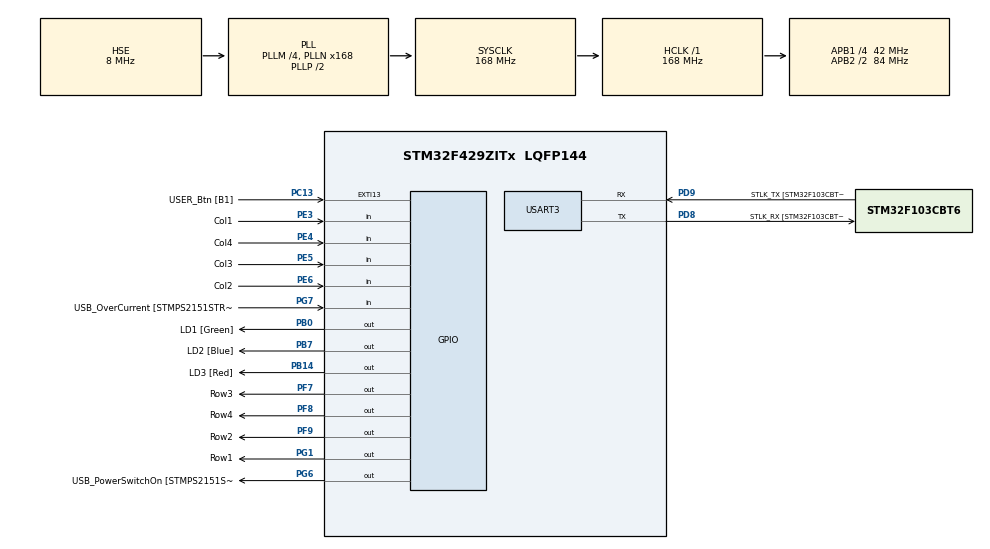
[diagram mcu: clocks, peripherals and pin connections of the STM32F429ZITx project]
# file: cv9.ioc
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Mcu.Family=STM32F4
Mcu.Name=STM32F429ZITx
Mcu.Package=LQFP144
NVIC.PriorityGroup=NVIC_PRIORITYGROUP_4
NVIC.TIM3_IRQn=true\:0\:0\:false\:false\:true\:true\:true
PA1.GPIO_Label=RMII_REF_CLK [LAN8742A-CZ-TR_REFCLK0]
PA1.Signal=ETH_REF_CLK
PA10.GPIO_Label=USB_ID
PA10.Signal=USB_OTG_FS_ID
PA11.GPIO_Label=USB_DM
PA11.Signal=USB_OTG_FS_DM
PA12.GPIO_Label=USB_DP
PA12.Signal=USB_OTG_FS_DP
PA13.GPIO_Label=TMS
PA13.Mode=Serial_Wire
PA13.Signal=SYS_JTMS-SWDIO
PA14.GPIO_Label=TCK
PA14.Mode=Serial_Wire
PA14.Signal=SYS_JTCK-SWCLK
PA2.GPIO_Label=RMII_MDIO [LAN8742A-CZ-TR_MDIO]
PA2.Signal=ETH_MDIO
PA7.GPIO_Label=RMII_CRS_DV [LAN8742A-CZ-TR_CRS_DV]
PA7.Signal=ETH_CRS_DV
PA8.GPIO_Label=USB_SOF [TP1]
PA8.Signal=USB_OTG_FS_SOF
PA9.GPIO_Label=USB_VBUS
PA9.Signal=USB_OTG_FS_VBUS
PB0.GPIO_Label=LD1 [Green]
PB0.Signal=GPIO_Output
PB13.GPIO_Label=RMII_TXD1 [LAN8742A-CZ-TR_TXD1]
PB13.Signal=ETH_TXD1
PB14.GPIO_Label=LD3 [Red]
PB14.Signal=GPIO_Output
PB7.GPIO_Label=LD2 [Blue]
PB7.Signal=GPIO_Output
PC1.GPIO_Label=RMII_MDC [LAN8742A-CZ-TR_MDC]
PC1.Signal=ETH_MDC
PC13.GPIO_Label=USER_Btn [B1]
PC13.Signal=GPXTI13
PC14/OSC32_IN.Mode=LSE-External-Oscillator
PC14/OSC32_IN.Signal=RCC_OSC32_IN
PC15/OSC32_OUT.Mode=LSE-External-Oscillator
PC15/OSC32_OUT.Signal=RCC_OSC32_OUT
PC4.GPIO_Label=RMII_RXD0 [LAN8742A-CZ-TR_RXD0]
PC4.Signal=ETH_RXD0
PC5.GPIO_Label=RMII_RXD1 [LAN8742A-CZ-TR_RXD1]
PC5.Signal=ETH_RXD1
PD8.GPIO_Label=STLK_RX [STM32F103CBT6_PA3]
PD8.Mode=Asynchronous
PD8.Signal=USART3_TX
PD9.GPIO_Label=STLK_TX [STM32F103CBT6_PA2]
PD9.Mode=Asynchronous
PD9.Signal=USART3_RX
PE3.GPIO_Label=Col1
PE3.GPIO_PuPd=GPIO_PULLUP
PE3.Signal=GPIO_Input
PE4.GPIO_Label=Col4
PE4.GPIO_PuPd=GPIO_PULLUP
PE4.Signal=GPIO_Input
PE5.GPIO_Label=Col3
PE5.GPIO_PuPd=GPIO_PULLUP
PE5.Signal=GPIO_Input
PE6.GPIO_Label=Col2
PE6.GPIO_PuPd=GPIO_PULLUP
PE6.Signal=GPIO_Input
PF7.GPIO_Label=Row3
PF7.GPIO_ModeDefaultOutputPP=GPIO_MODE_OUTPUT_OD
PF7.Signal=GPIO_Output
PF8.GPIO_Label=Row4
PF8.GPIO_ModeDefaultOutputPP=GPIO_MODE_OUTPUT_OD
PF8.Signal=GPIO_Output
PF9.GPIO_Label=Row2
PF9.GPIO_ModeDefaultOutputPP=GPIO_MODE_OUTPUT_OD
PF9.Signal=GPIO_Output
PG1.GPIO_Label=Row1
PG1.GPIO_ModeDefaultOutputPP=GPIO_MODE_OUTPUT_OD
PG1.Signal=GPIO_Output
PG11.GPIO_Label=RMII_TX_EN [LAN8742A-CZ-TR_TXEN]
PG11.Signal=ETH_TX_EN
PG13.GPIO_Label=RMII_TXD0 [LAN8742A-CZ-TR_TXD0]
PG13.Signal=ETH_TXD0
PG6.GPIO_Label=USB_PowerSwitchOn [STMPS2151STR_EN]
PG6.Signal=GPIO_Output
PG7.GPIO_Label=USB_OverCurrent [STMPS2151STR_FAULT]
PG7.Signal=GPIO_Input
PH0/OSC_IN.GPIO_Label=MCO [STM32F103CBT6_PA8]
PH0/OSC_IN.Mode=HSE-External-Clock-Source
PH0/OSC_IN.Signal=RCC_OSC_IN
PH1/OSC_OUT.Mode=HSE-External-Clock-Source
PH1/OSC_OUT.Signal=RCC_OSC_OUT
ProjectManager.HeapSize=0x200
ProjectManager.StackSize=0x400
ProjectManager.TargetToolchain=STM32CubeIDE
RCC.48MHZClocksFreq_Value=48000000
RCC.AHBFreq_Value=168000000
RCC.APB1CLKDivider=RCC_HCLK_DIV4
RCC.APB1Freq_Value=42000000
RCC.APB1TimFreq_Value=84000000
RCC.APB2CLKDivider=RCC_HCLK_DIV2
RCC.APB2Freq_Value=84000000
RCC.APB2TimCLKDivider=2
RCC.APB2TimFreq_Value=168000000
RCC.CortexFreq_Value=168000000
RCC.HCLKFreq_Value=168000000
RCC.HSE_VALUE=8000000
RCC.HSI_VALUE=16000000
RCC.PLLM=4
RCC.PLLMUL=RCC_PLL_MUL9
RCC.PLLN=168
RCC.PLLQ=7
RCC.PLLSourceVirtual=RCC_PLLSOURCE_HSE
RCC.PRESCALERUSB=RCC_USBCLKSOURCE_PLL_DIV1_5
RCC.SYSCLKFreq_VALUE=168000000
RCC.SYSCLKSource=RCC_SYSCLKSOURCE_PLLCLK
RCC.SYSCLKSourceVirtual=RCC_SYSCLKSOURCE_PLLCLK
RCC.USBFreq_Value=48000000
RCC.VCOOutputFreq_Value=336000000
TIM3.AutoReloadPreload=TIM_AUTORELOAD_PRELOAD_ENABLE
TIM3.Period=99
TIM3.Prescaler=8399
USART3.VirtualMode=VM_ASYNC
VP_TIM3_VS_ClockSourceINT.Mode=Internal
board=NUCLEO-F429ZI

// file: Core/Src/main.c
/* USER CODE BEGIN Header */
/**
 ******************************************************************************
 * @file           : main.c
 * @brief          : Main program body
 ******************************************************************************
 * @attention
 *
 * <h2><center>&copy; Copyright (c) 2021 STMicroelectronics.
 * All rights reserved.</center></h2>
 *
 * This software component is licensed by ST under BSD 3-Clause license,
 * the "License"; You may not use this file except in compliance with the
 * License. You may obtain a copy of the License at:
 *                        opensource.org/licenses/BSD-3-Clause
 *
 ******************************************************************************
 */
/* USER CODE END Header */
#include "main.h"

/* USER CODE BEGIN Includes */
#include <stdio.h>

/* USER CODE END Includes */

TIM_HandleTypeDef htim3;

UART_HandleTypeDef huart3;

/* USER CODE BEGIN PV */
static volatile int8_t key;
const int code[5] = { 7, 9, 3, 2, 12 };
/* USER CODE END PV */

void SystemClock_Config(void);
static void MX_GPIO_Init(void);
static void MX_USART3_UART_Init(void);
static void MX_TIM3_Init(void);
/* USER CODE BEGIN PFP */
void HAL_TIM_PeriodElapsedCallback(TIM_HandleTypeDef *htim)
{
	static int row = 0;
	static const int keyboard[4][4] = {
			{ 1, 2, 3, 21 },
			{ 4, 5, 6, 22 },
			{ 7, 8, 9, 23 },
			{ 11, 0, 12, 24 },
	};
	if (key == -1) {
		if (HAL_GPIO_ReadPin(Col1_GPIO_Port, Col1_Pin) == GPIO_PIN_RESET) key = keyboard[row][0];
		if (HAL_GPIO_ReadPin(Col2_GPIO_Port, Col2_Pin) == GPIO_PIN_RESET) key = keyboard[row][1];
		if (HAL_GPIO_ReadPin(Col3_GPIO_Port, Col3_Pin) == GPIO_PIN_RESET) key = keyboard[row][2];
		if (HAL_GPIO_ReadPin(Col4_GPIO_Port, Col4_Pin) == GPIO_PIN_RESET) key = keyboard[row][3];
	}
	HAL_GPIO_WritePin(Row1_GPIO_Port, Row1_Pin, GPIO_PIN_SET);
	HAL_GPIO_WritePin(Row2_GPIO_Port, Row2_Pin, GPIO_PIN_SET);
	HAL_GPIO_WritePin(Row3_GPIO_Port, Row3_Pin, GPIO_PIN_SET);
	HAL_GPIO_WritePin(Row4_GPIO_Port, Row4_Pin, GPIO_PIN_SET);
	switch (row) {
	case 0: row = 1; HAL_GPIO_WritePin(Row2_GPIO_Port, Row2_Pin, GPIO_PIN_RESET); break;
	case 1: row = 2; HAL_GPIO_WritePin(Row3_GPIO_Port, Row3_Pin, GPIO_PIN_RESET); break;
	case 2: row = 3; HAL_GPIO_WritePin(Row4_GPIO_Port, Row4_Pin, GPIO_PIN_RESET); break;
	case 3: row = 0; HAL_GPIO_WritePin(Row1_GPIO_Port, Row1_Pin, GPIO_PIN_RESET); break;
	}
}

/* USER CODE END PFP */

/* USER CODE BEGIN 0 */
int __io_putchar(int ch)
{
	ITM_SendChar(ch);
	return 0;
}

/* USER CODE END 0 */

int main(void)
{

	/* MCU Configuration--------------------------------------------------------*/

	/* Reset of all peripherals, Initializes the Flash interface and the Systick. */
	HAL_Init();

	/* Configure the system clock */
	SystemClock_Config();

	/* Initialize all configured peripherals */
	MX_GPIO_Init();
	MX_USART3_UART_Init();
	MX_TIM3_Init();
	/* USER CODE BEGIN 2 */
	HAL_Delay(1000);
	printf("Start...\n");
	HAL_TIM_Base_Start_IT(&htim3);

	/* USER CODE END 2 */

	/* Infinite loop */
	while (1)
	{

		/* USER CODE BEGIN 3 */
		static int8_t codeIndex = 0;
		static uint32_t TimeOut = 0;

		if(HAL_GetTick() > TimeOut + 3000){
			HAL_GPIO_WritePin(LD1_GPIO_Port, LD1_Pin, GPIO_PIN_RESET);
			printf("TimeOut... \n");
			TimeOut = HAL_GetTick();
			codeIndex = 0;
		}

		if (key != -1){
			printf("%d \n", key);
			TimeOut = HAL_GetTick();
			if (key == code[codeIndex]){
				codeIndex++;
				if(codeIndex > 4){
					printf("Unlocked... \n");
					HAL_GPIO_WritePin(LD1_GPIO_Port, LD1_Pin, GPIO_PIN_SET);
				}
			}else if (key == 24){
				printf("Code deleted!!! \n");
				codeIndex = 0;
			}
			else {
				printf("Wrong!!! \n");
				codeIndex = 0;
			}
			HAL_Delay(200);
			key = -1;
		}
	}
	/* USER CODE END 3 */
}

void SystemClock_Config(void)
{
	RCC_OscInitTypeDef RCC_OscInitStruct = {0};
	RCC_ClkInitTypeDef RCC_ClkInitStruct = {0};

	/** Configure the main internal regulator output voltage
	 */
	__HAL_RCC_PWR_CLK_ENABLE();
	__HAL_PWR_VOLTAGESCALING_CONFIG(PWR_REGULATOR_VOLTAGE_SCALE1);
	/** Initializes the RCC Oscillators according to the specified parameters
	 * in the RCC_OscInitTypeDef structure.
	 */
	RCC_OscInitStruct.OscillatorType = RCC_OSCILLATORTYPE_HSE;
	RCC_OscInitStruct.HSEState = RCC_HSE_BYPASS;
	RCC_OscInitStruct.PLL.PLLState = RCC_PLL_ON;
	RCC_OscInitStruct.PLL.PLLSource = RCC_PLLSOURCE_HSE;
	RCC_OscInitStruct.PLL.PLLM = 4;
	RCC_OscInitStruct.PLL.PLLN = 168;
	RCC_OscInitStruct.PLL.PLLP = RCC_PLLP_DIV2;
	RCC_OscInitStruct.PLL.PLLQ = 7;
	if (HAL_RCC_OscConfig(&RCC_OscInitStruct) != HAL_OK)
	{
		Error_Handler();
	}
	/** Initializes the CPU, AHB and APB buses clocks
	 */
	RCC_ClkInitStruct.ClockType = RCC_CLOCKTYPE_HCLK|RCC_CLOCKTYPE_SYSCLK
			|RCC_CLOCKTYPE_PCLK1|RCC_CLOCKTYPE_PCLK2;
	RCC_ClkInitStruct.SYSCLKSource = RCC_SYSCLKSOURCE_PLLCLK;
	RCC_ClkInitStruct.AHBCLKDivider = RCC_SYSCLK_DIV1;
	RCC_ClkInitStruct.APB1CLKDivider = RCC_HCLK_DIV4;
	RCC_ClkInitStruct.APB2CLKDivider = RCC_HCLK_DIV2;

	if (HAL_RCC_ClockConfig(&RCC_ClkInitStruct, FLASH_LATENCY_5) != HAL_OK)
	{
		Error_Handler();
	}
}

static void MX_TIM3_Init(void)
{

	TIM_ClockConfigTypeDef sClockSourceConfig = {0};
	TIM_MasterConfigTypeDef sMasterConfig = {0};

	htim3.Instance = TIM3;
	htim3.Init.Prescaler = 8399;
	htim3.Init.CounterMode = TIM_COUNTERMODE_UP;
	htim3.Init.Period = 99;
	htim3.Init.ClockDivision = TIM_CLOCKDIVISION_DIV1;
	htim3.Init.AutoReloadPreload = TIM_AUTORELOAD_PRELOAD_ENABLE;
	if (HAL_TIM_Base_Init(&htim3) != HAL_OK)
	{
		Error_Handler();
	}
	sClockSourceConfig.ClockSource = TIM_CLOCKSOURCE_INTERNAL;
	if (HAL_TIM_ConfigClockSource(&htim3, &sClockSourceConfig) != HAL_OK)
	{
		Error_Handler();
	}
	sMasterConfig.MasterOutputTrigger = TIM_TRGO_RESET;
	sMasterConfig.MasterSlaveMode = TIM_MASTERSLAVEMODE_DISABLE;
	if (HAL_TIMEx_MasterConfigSynchronization(&htim3, &sMasterConfig) != HAL_OK)
	{
		Error_Handler();
	}

}

static void MX_USART3_UART_Init(void)
{

	huart3.Instance = USART3;
	huart3.Init.BaudRate = 115200;
	huart3.Init.WordLength = UART_WORDLENGTH_8B;
	huart3.Init.StopBits = UART_STOPBITS_1;
	huart3.Init.Parity = UART_PARITY_NONE;
	huart3.Init.Mode = UART_MODE_TX_RX;
	huart3.Init.HwFlowCtl = UART_HWCONTROL_NONE;
	huart3.Init.OverSampling = UART_OVERSAMPLING_16;
	if (HAL_UART_Init(&huart3) != HAL_OK)
	{
		Error_Handler();
	}

}

static void MX_GPIO_Init(void)
{
	GPIO_InitTypeDef GPIO_InitStruct = {0};

	/* GPIO Ports Clock Enable */
	__HAL_RCC_GPIOE_CLK_ENABLE();
	__HAL_RCC_GPIOC_CLK_ENABLE();
	__HAL_RCC_GPIOF_CLK_ENABLE();
	__HAL_RCC_GPIOH_CLK_ENABLE();
	__HAL_RCC_GPIOA_CLK_ENABLE();
	__HAL_RCC_GPIOB_CLK_ENABLE();
	__HAL_RCC_GPIOG_CLK_ENABLE();
	__HAL_RCC_GPIOD_CLK_ENABLE();

	/*Configure GPIO pin Output Level */
	HAL_GPIO_WritePin(GPIOF, Row3_Pin|Row4_Pin|Row2_Pin, GPIO_PIN_RESET);

	/*Configure GPIO pin Output Level */
	HAL_GPIO_WritePin(GPIOB, LD1_Pin|LD3_Pin|LD2_Pin, GPIO_PIN_RESET);

	/*Configure GPIO pin Output Level */
	HAL_GPIO_WritePin(GPIOG, Row1_Pin|USB_PowerSwitchOn_Pin, GPIO_PIN_RESET);

	/*Configure GPIO pins : Col1_Pin Col4_Pin Col3_Pin Col2_Pin */
	GPIO_InitStruct.Pin = Col1_Pin|Col4_Pin|Col3_Pin|Col2_Pin;
	GPIO_InitStruct.Mode = GPIO_MODE_INPUT;
	GPIO_InitStruct.Pull = GPIO_PULLUP;
	HAL_GPIO_Init(GPIOE, &GPIO_InitStruct);

	/*Configure GPIO pin : USER_Btn_Pin */
	GPIO_InitStruct.Pin = USER_Btn_Pin;
	GPIO_InitStruct.Mode = GPIO_MODE_IT_RISING;
	GPIO_InitStruct.Pull = GPIO_NOPULL;
	HAL_GPIO_Init(USER_Btn_GPIO_Port, &GPIO_InitStruct);

	/*Configure GPIO pins : Row3_Pin Row4_Pin Row2_Pin */
	GPIO_InitStruct.Pin = Row3_Pin|Row4_Pin|Row2_Pin;
	GPIO_InitStruct.Mode = GPIO_MODE_OUTPUT_OD;
	GPIO_InitStruct.Pull = GPIO_NOPULL;
	GPIO_InitStruct.Speed = GPIO_SPEED_FREQ_LOW;
	HAL_GPIO_Init(GPIOF, &GPIO_InitStruct);

	/*Configure GPIO pins : RMII_MDC_Pin RMII_RXD0_Pin RMII_RXD1_Pin */
	GPIO_InitStruct.Pin = RMII_MDC_Pin|RMII_RXD0_Pin|RMII_RXD1_Pin;
	GPIO_InitStruct.Mode = GPIO_MODE_AF_PP;
	GPIO_InitStruct.Pull = GPIO_NOPULL;
	GPIO_InitStruct.Speed = GPIO_SPEED_FREQ_VERY_HIGH;
	GPIO_InitStruct.Alternate = GPIO_AF11_ETH;
	HAL_GPIO_Init(GPIOC, &GPIO_InitStruct);

	/*Configure GPIO pins : RMII_REF_CLK_Pin RMII_MDIO_Pin RMII_CRS_DV_Pin */
	GPIO_InitStruct.Pin = RMII_REF_CLK_Pin|RMII_MDIO_Pin|RMII_CRS_DV_Pin;
	GPIO_InitStruct.Mode = GPIO_MODE_AF_PP;
	GPIO_InitStruct.Pull = GPIO_NOPULL;
	GPIO_InitStruct.Speed = GPIO_SPEED_FREQ_VERY_HIGH;
	GPIO_InitStruct.Alternate = GPIO_AF11_ETH;
	HAL_GPIO_Init(GPIOA, &GPIO_InitStruct);

	/*Configure GPIO pins : LD1_Pin LD3_Pin LD2_Pin */
	GPIO_InitStruct.Pin = LD1_Pin|LD3_Pin|LD2_Pin;
	GPIO_InitStruct.Mode = GPIO_MODE_OUTPUT_PP;
	GPIO_InitStruct.Pull = GPIO_NOPULL;
	GPIO_InitStruct.Speed = GPIO_SPEED_FREQ_LOW;
	HAL_GPIO_Init(GPIOB, &GPIO_InitStruct);

	/*Configure GPIO pin : Row1_Pin */
	GPIO_InitStruct.Pin = Row1_Pin;
	GPIO_InitStruct.Mode = GPIO_MODE_OUTPUT_OD;
	GPIO_InitStruct.Pull = GPIO_NOPULL;
	GPIO_InitStruct.Speed = GPIO_SPEED_FREQ_LOW;
	HAL_GPIO_Init(Row1_GPIO_Port, &GPIO_InitStruct);

	/*Configure GPIO pin : RMII_TXD1_Pin */
	GPIO_InitStruct.Pin = RMII_TXD1_Pin;
	GPIO_InitStruct.Mode = GPIO_MODE_AF_PP;
	GPIO_InitStruct.Pull = GPIO_NOPULL;
	GPIO_InitStruct.Speed = GPIO_SPEED_FREQ_VERY_HIGH;
	GPIO_InitStruct.Alternate = GPIO_AF11_ETH;
	HAL_GPIO_Init(RMII_TXD1_GPIO_Port, &GPIO_InitStruct);

	/*Configure GPIO pin : USB_PowerSwitchOn_Pin */
	GPIO_InitStruct.Pin = USB_PowerSwitchOn_Pin;
	GPIO_InitStruct.Mode = GPIO_MODE_OUTPUT_PP;
	GPIO_InitStruct.Pull = GPIO_NOPULL;
	GPIO_InitStruct.Speed = GPIO_SPEED_FREQ_LOW;
	HAL_GPIO_Init(USB_PowerSwitchOn_GPIO_Port, &GPIO_InitStruct);

	/*Configure GPIO pin : USB_OverCurrent_Pin */
	GPIO_InitStruct.Pin = USB_OverCurrent_Pin;
	GPIO_InitStruct.Mode = GPIO_MODE_INPUT;
	GPIO_InitStruct.Pull = GPIO_NOPULL;
	HAL_GPIO_Init(USB_OverCurrent_GPIO_Port, &GPIO_InitStruct);

	/*Configure GPIO pins : USB_SOF_Pin USB_ID_Pin USB_DM_Pin USB_DP_Pin */
	GPIO_InitStruct.Pin = USB_SOF_Pin|USB_ID_Pin|USB_DM_Pin|USB_DP_Pin;
	GPIO_InitStruct.Mode = GPIO_MODE_AF_PP;
	GPIO_InitStruct.Pull = GPIO_NOPULL;
	GPIO_InitStruct.Speed = GPIO_SPEED_FREQ_VERY_HIGH;
	GPIO_InitStruct.Alternate = GPIO_AF10_OTG_FS;
	HAL_GPIO_Init(GPIOA, &GPIO_InitStruct);

	/*Configure GPIO pin : USB_VBUS_Pin */
	GPIO_InitStruct.Pin = USB_VBUS_Pin;
	GPIO_InitStruct.Mode = GPIO_MODE_INPUT;
	GPIO_InitStruct.Pull = GPIO_NOPULL;
	HAL_GPIO_Init(USB_VBUS_GPIO_Port, &GPIO_InitStruct);

	/*Configure GPIO pins : RMII_TX_EN_Pin RMII_TXD0_Pin */
	GPIO_InitStruct.Pin = RMII_TX_EN_Pin|RMII_TXD0_Pin;
	GPIO_InitStruct.Mode = GPIO_MODE_AF_PP;
	GPIO_InitStruct.Pull = GPIO_NOPULL;
	GPIO_InitStruct.Speed = GPIO_SPEED_FREQ_VERY_HIGH;
	GPIO_InitStruct.Alternate = GPIO_AF11_ETH;
	HAL_GPIO_Init(GPIOG, &GPIO_InitStruct);

}

void Error_Handler(void)
{
	__disable_irq();
	while (1)
	{
	}
}

/************************ (C) COPYRIGHT STMicroelectronics *****END OF FILE****/
